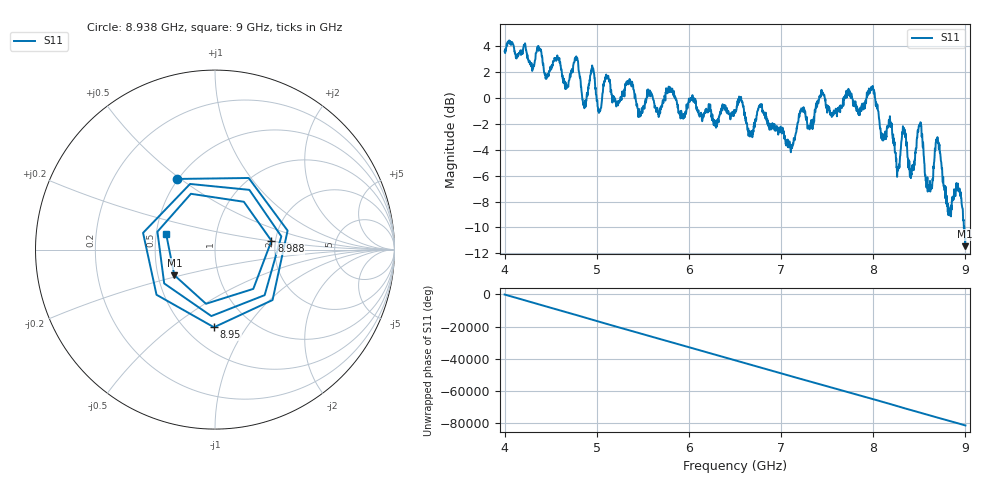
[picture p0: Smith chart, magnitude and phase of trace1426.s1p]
! Created with skrf 1.8.0 (http://scikit-rf.org).
# Hz S RI R 50.0
!freq ReS11 ImS11
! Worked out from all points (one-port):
!   1601 points, 4 GHz to 9 GHz, reference 50 ohm
!   lowest |S11| = -11.4 dB at 8.997 GHz (marker M1), VSWR 1.73, Z = 30.4 - j9.35 ohm
!   |S11| at or under -10 dB: 8.983432 GHz to 8.986799 GHz (3.367 MHz wide, 0.0375 % of centre); 8.988507 GHz to end of sweep
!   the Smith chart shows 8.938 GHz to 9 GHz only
!   S11 on the Smith chart (normalised r, x): 8.938 GHz: 0.49, +0.49; 8.95 GHz: 0.68, -0.72; 8.988 GHz: 1.90, +0.21; 9 GHz: 0.56, +0.11
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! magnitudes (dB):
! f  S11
! 4 GHz  3.6
! 4.625 GHz  1.7
! 4.775 GHz  3.1
! 4.862 GHz  -0.7
! 4.953 GHz  2.4
! 5.025 GHz  -1.1
! 5.106 GHz  1.7
! 5.25 GHz  -0.1
! 5.875 GHz  -0.5
! 6.5 GHz  -1.0
! 6.778 GHz  -0.5
! 7.125 GHz  -3.7
! 7.228 GHz  -0.9
! 7.75 GHz  0.1
! 7.991 GHz  0.8
! 8.262 GHz  -5.6
! 8.331 GHz  -2.4
! 8.375 GHz  -4.6
! 8.422 GHz  -5.4
! 8.506 GHz  -2.1
! 8.603 GHz  -6.7
! 8.694 GHz  -3.3
! 8.819 GHz  -8.6
! 8.938 GHz  -7.0
! 8.95 GHz  -7.3
! 8.988 GHz  -9.9
! 8.997 GHz  -11.4
! 9 GHz  -10.9
